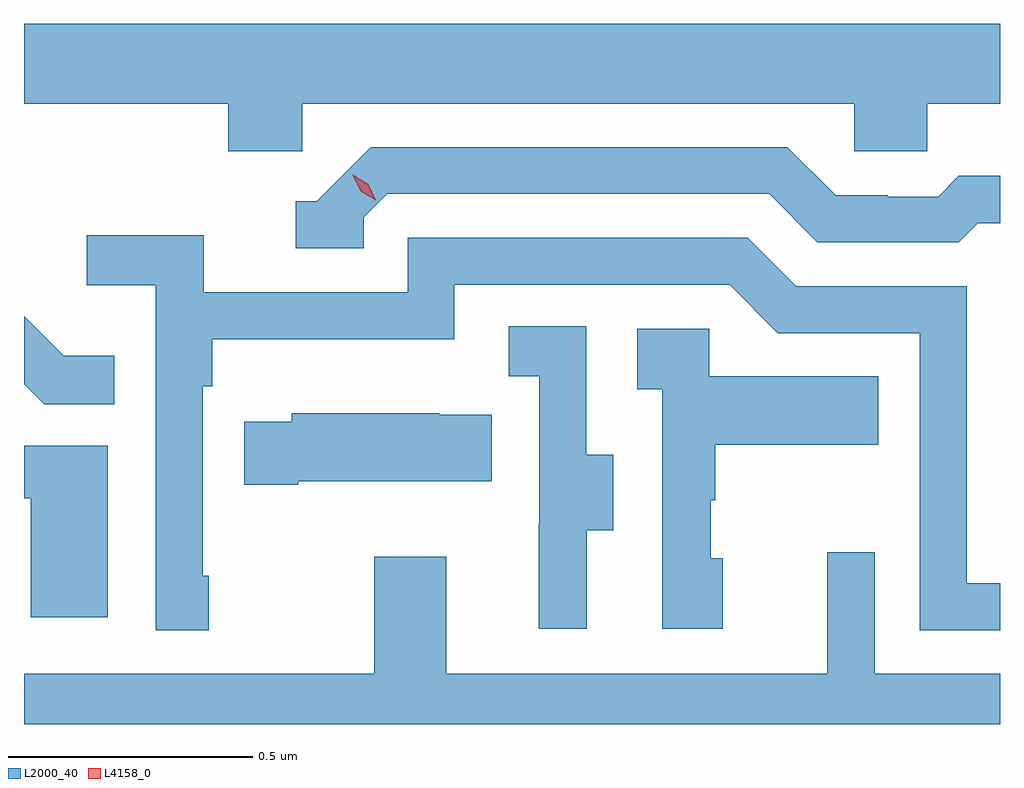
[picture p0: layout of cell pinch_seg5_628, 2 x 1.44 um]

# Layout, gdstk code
import gdstk
lib = gdstk.Library(unit=1e-6, precision=1e-09)
def P(c, l, *ps):  # polygons
    for p in ps: c.add(gdstk.Polygon(p, *l))
L2000_40 = (2000, 40)
L4158_0 = (4158, 0)

pinch_seg5_628 = lib.new_cell('pinch_seg5_628')
P(pinch_seg5_628, L2000_40, [(1047.018,860.756),(1048.149,860.756),(1048.149,860.658),(1048.299,860.658),(1048.299,860.756),(1048.448,860.756),(1048.448,860.92),(1046.448,860.92),(1046.448,860.756),(1046.867,860.756),(1046.867,860.658),(1047.018,860.658)],
  [(1047.144,860.523),(1047.192,860.571),(1047.975,860.571),(1048.074,860.472),(1048.363,860.472),(1048.402,860.511),(1048.448,860.511),(1048.448,860.608),(1048.363,860.608),(1048.321,860.565),(1048.218,860.565),(1048.218,860.568),(1048.111,860.568),(1048.012,860.667),(1047.159,860.667),(1047.048,860.556),(1047.005,860.556),(1047.005,860.46),(1047.144,860.46)],
  [(1046.827,859.789),(1046.814,859.789),(1046.814,860.177),(1046.834,860.177),(1046.834,860.273),(1047.33,860.273),(1047.33,860.385),(1047.894,860.385),(1047.993,860.286),(1048.284,860.286),(1048.284,859.677),(1048.448,859.677),(1048.448,859.773),(1048.38,859.773),(1048.38,860.382),(1048.03,860.382),(1047.931,860.481),(1047.234,860.481),(1047.234,860.37),(1046.816,860.37),(1046.816,860.486),(1046.577,860.486),(1046.577,860.384),(1046.718,860.384),(1046.718,859.677),(1046.827,859.677)],
  [(1046.633,860.239),(1046.529,860.239),(1046.448,860.32),(1046.448,860.181),(1046.489,860.14),(1046.633,860.14)],
  [(1047.601,859.882),(1047.655,859.882),(1047.655,860.037),(1047.6,860.037),(1047.6,860.3),(1047.441,860.3),(1047.441,860.197),(1047.504,860.197),(1047.504,859.893),(1047.503,859.893),(1047.503,859.68),(1047.601,859.68)],
  [(1047.88,859.824),(1047.855,859.824),(1047.855,859.943),(1047.865,859.943),(1047.865,860.057),(1048.199,860.057),(1048.199,860.197),(1047.852,860.197),(1047.852,860.295),(1047.705,860.295),(1047.705,860.171),(1047.756,860.171),(1047.756,859.68),(1047.88,859.68)],
  [(1047.01,859.982),(1047.407,859.982),(1047.407,860.119),(1047.299,860.119),(1047.299,860.122),(1046.997,860.122),(1046.997,860.104),(1046.899,860.104),(1046.899,859.975),(1047.01,859.975)],
  [(1046.62,860.055),(1046.448,860.055),(1046.448,859.947),(1046.462,859.947),(1046.462,859.704),(1046.62,859.704)],
  [(1048.448,859.588),(1048.191,859.588),(1048.191,859.837),(1048.094,859.837),(1048.094,859.588),(1047.313,859.588),(1047.313,859.828),(1047.166,859.828),(1047.166,859.588),(1046.448,859.588),(1046.448,859.484),(1048.448,859.484)])
P(pinch_seg5_628, L4158_0, [(1047.169,860.558),(1047.138,860.577),(1047.122,860.61),(1047.122,860.61),(1047.122,860.61),(1047.153,860.591),(1047.169,860.558),(1047.169,860.558)])

lib.write_gds('pinch_seg5_628.gds')
